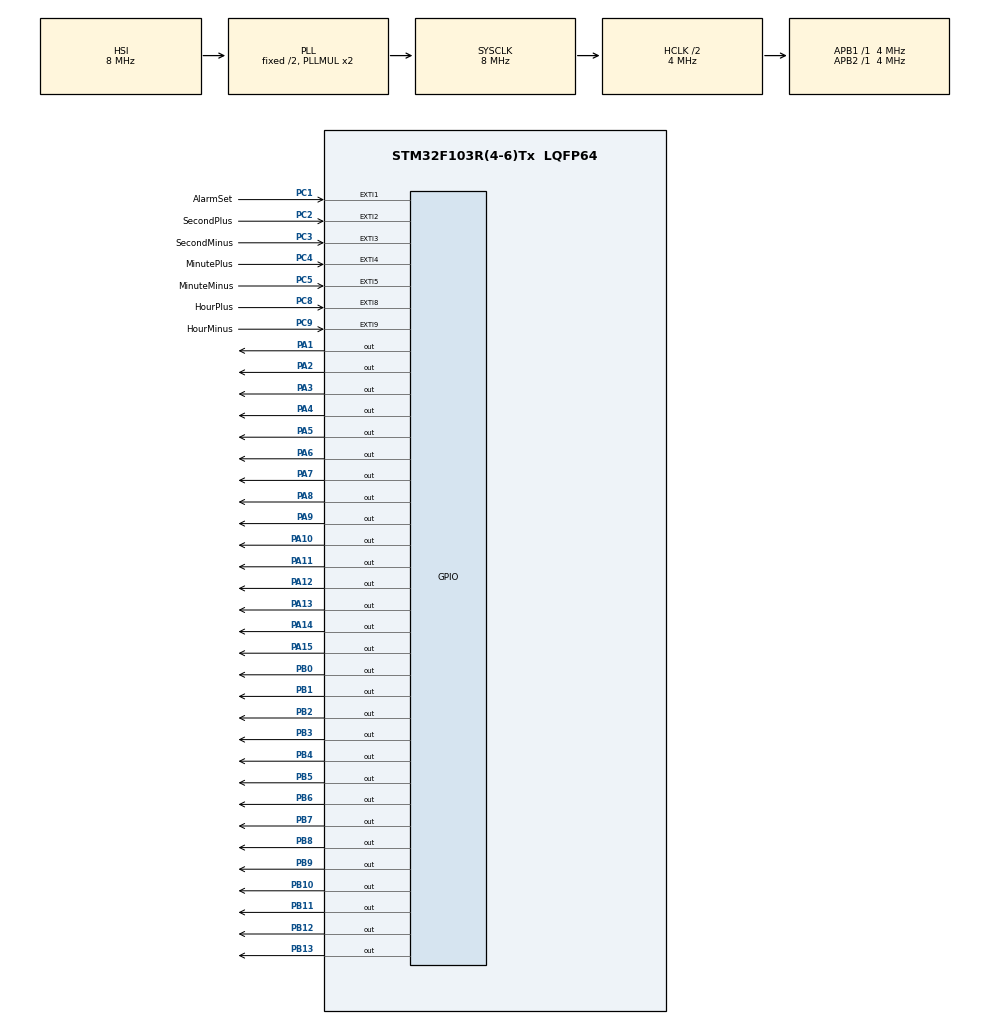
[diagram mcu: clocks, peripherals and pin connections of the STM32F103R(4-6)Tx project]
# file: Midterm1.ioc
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Mcu.Family=STM32F1
Mcu.Name=STM32F103R(4-6)Tx
Mcu.Package=LQFP64
NVIC.EXTI1_IRQn=true\:0\:0\:false\:true\:true\:10\:true\:true
NVIC.EXTI2_IRQn=true\:0\:0\:false\:true\:true\:5\:true\:true
NVIC.EXTI3_IRQn=true\:0\:0\:false\:true\:true\:6\:true\:true
NVIC.EXTI4_IRQn=true\:0\:0\:false\:true\:true\:7\:true\:true
NVIC.EXTI9_5_IRQn=true\:0\:0\:false\:true\:true\:8\:true\:true
NVIC.FLASH_IRQn=true\:0\:0\:false\:true\:true\:3\:true\:true
NVIC.PVD_IRQn=true\:0\:0\:false\:true\:true\:1\:true\:true
NVIC.PriorityGroup=NVIC_PRIORITYGROUP_4
NVIC.RCC_IRQn=true\:0\:0\:false\:true\:true\:4\:true\:false
NVIC.RTC_Alarm_IRQn=true\:0\:0\:false\:true\:true\:9\:true\:true
NVIC.RTC_IRQn=true\:0\:0\:false\:true\:true\:2\:true\:true
PA1.GPIO_ModeDefaultOutputPP=GPIO_MODE_OUTPUT_OD
PA1.Signal=GPIO_Output
PA10.GPIO_ModeDefaultOutputPP=GPIO_MODE_OUTPUT_OD
PA10.Signal=GPIO_Output
PA11.GPIO_ModeDefaultOutputPP=GPIO_MODE_OUTPUT_OD
PA11.Signal=GPIO_Output
PA12.GPIO_ModeDefaultOutputPP=GPIO_MODE_OUTPUT_OD
PA12.Signal=GPIO_Output
PA13.GPIO_ModeDefaultOutputPP=GPIO_MODE_OUTPUT_OD
PA13.Signal=GPIO_Output
PA14.GPIO_ModeDefaultOutputPP=GPIO_MODE_OUTPUT_OD
PA14.Signal=GPIO_Output
PA15.GPIO_ModeDefaultOutputPP=GPIO_MODE_OUTPUT_OD
PA15.Signal=GPIO_Output
PA2.GPIO_ModeDefaultOutputPP=GPIO_MODE_OUTPUT_OD
PA2.Signal=GPIO_Output
PA3.GPIO_ModeDefaultOutputPP=GPIO_MODE_OUTPUT_OD
PA3.Signal=GPIO_Output
PA4.GPIO_ModeDefaultOutputPP=GPIO_MODE_OUTPUT_OD
PA4.Signal=GPIO_Output
PA5.GPIO_ModeDefaultOutputPP=GPIO_MODE_OUTPUT_OD
PA5.Signal=GPIO_Output
PA6.GPIO_ModeDefaultOutputPP=GPIO_MODE_OUTPUT_OD
PA6.Signal=GPIO_Output
PA7.GPIO_ModeDefaultOutputPP=GPIO_MODE_OUTPUT_OD
PA7.Signal=GPIO_Output
PA8.GPIO_ModeDefaultOutputPP=GPIO_MODE_OUTPUT_OD
PA8.Signal=GPIO_Output
PA9.GPIO_ModeDefaultOutputPP=GPIO_MODE_OUTPUT_OD
PA9.Signal=GPIO_Output
PB0.GPIO_ModeDefaultOutputPP=GPIO_MODE_OUTPUT_OD
PB0.Signal=GPIO_Output
PB1.GPIO_ModeDefaultOutputPP=GPIO_MODE_OUTPUT_OD
PB1.Signal=GPIO_Output
PB10.Signal=GPIO_Output
PB11.Signal=GPIO_Output
PB12.Signal=GPIO_Output
PB13.Signal=GPIO_Output
PB2.GPIO_ModeDefaultOutputPP=GPIO_MODE_OUTPUT_OD
PB2.Signal=GPIO_Output
PB3.GPIO_ModeDefaultOutputPP=GPIO_MODE_OUTPUT_OD
PB3.Signal=GPIO_Output
PB4.GPIO_ModeDefaultOutputPP=GPIO_MODE_OUTPUT_OD
PB4.Signal=GPIO_Output
PB5.GPIO_ModeDefaultOutputPP=GPIO_MODE_OUTPUT_OD
PB5.Signal=GPIO_Output
PB6.GPIO_ModeDefaultOutputPP=GPIO_MODE_OUTPUT_OD
PB6.Signal=GPIO_Output
PB7.GPIO_ModeDefaultOutputPP=GPIO_MODE_OUTPUT_OD
PB7.Signal=GPIO_Output
PB8.GPIO_ModeDefaultOutputPP=GPIO_MODE_OUTPUT_OD
PB8.Signal=GPIO_Output
PB9.GPIO_ModeDefaultOutputPP=GPIO_MODE_OUTPUT_OD
PB9.Signal=GPIO_Output
PC1.GPIO_Label=AlarmSet
PC1.Signal=GPXTI1
PC2.GPIO_Label=SecondPlus
PC2.Signal=GPXTI2
PC3.GPIO_Label=SecondMinus
PC3.Signal=GPXTI3
PC4.GPIO_Label=MinutePlus
PC4.Signal=GPXTI4
PC5.GPIO_Label=MinuteMinus
PC5.Signal=GPXTI5
PC8.GPIO_Label=HourPlus
PC8.Signal=GPXTI8
PC9.GPIO_Label=HourMinus
PC9.Signal=GPXTI9
ProjectManager.HeapSize=0x200
ProjectManager.StackSize=0x400
ProjectManager.TargetToolchain=STM32CubeIDE
RCC.AHBCLKDivider=RCC_SYSCLK_DIV2
RCC.AHBFreq_Value=4000000
RCC.APB1Freq_Value=4000000
RCC.APB1TimFreq_Value=4000000
RCC.APB2Freq_Value=4000000
RCC.APB2TimFreq_Value=4000000
RCC.HCLKFreq_Value=4000000
RCC.SYSCLKFreq_VALUE=8000000
RCC.SYSCLKSource=RCC_SYSCLKSOURCE_PLLCLK
RCC.USBFreq_Value=8000000
RTC.Format=RTC_FORMAT_BIN
RTC.Hours=9
RTC.Minutes=15
RTC.Seconds=15
VP_RTC_No_RTC_Output.Mode=RTC_OUT_NO
VP_RTC_VS_RTC_Activate.Mode=RTC_Enabled
VP_SYS_VS_ND.Mode=No_Debug
board=custom

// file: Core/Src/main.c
/* USER CODE BEGIN Header */
/**
  ******************************************************************************
  * @file           : main.c
  * @brief          : Main program body
  ******************************************************************************
  * @attention
  *
  * <h2><center>&copy; Copyright (c) 2020 STMicroelectronics.
  * All rights reserved.</center></h2>
  *
  * This software component is licensed by ST under BSD 3-Clause license,
  * the "License"; You may not use this file except in compliance with the
  * License. You may obtain a copy of the License at:
  *                        opensource.org/licenses/BSD-3-Clause
  *
  ******************************************************************************
  */
/* USER CODE END Header */

#include "main.h"

RTC_HandleTypeDef hrtc;

/* USER CODE BEGIN PV */
uint8_t alarmflag = 0;
RTC_TimeTypeDef sTime = {0};
RTC_AlarmTypeDef sAlarm = {0};
/* USER CODE END PV */

void SystemClock_Config(void);
static void MX_GPIO_Init(void);
static void MX_RTC_Init(void);
static void MX_NVIC_Init(void);

int main(void)
{

  /* MCU Configuration--------------------------------------------------------*/

  /* Reset of all peripherals, Initializes the Flash interface and the Systick. */
  HAL_Init();

  /* Configure the system clock */
  SystemClock_Config();

  /* Initialize all configured peripherals */
  MX_GPIO_Init();
  MX_RTC_Init();

  /* Initialize interrupts */
  MX_NVIC_Init();

  /* Infinite loop */
  /* USER CODE BEGIN WHILE */

  sAlarm.AlarmTime.Hours = 9;
  sAlarm.AlarmTime.Minutes = 16;
  sAlarm.AlarmTime.Seconds = 20;
  sAlarm.Alarm = RTC_ALARM_A;
  while (1)
  {
    /* USER CODE END WHILE */

    /* USER CODE BEGIN 3 */
	  HAL_Delay(100);
	  RTC_TimeTypeDef tmpTime;
	  RTC_AlarmTypeDef tmpAlarm;
	  HAL_RTC_GetTime(&hrtc, &tmpTime, RTC_FORMAT_BIN);
	  HAL_RTC_GetAlarm(&hrtc, &tmpAlarm, RTC_ALARM_A, RTC_FORMAT_BIN);

	  if(alarmflag == 0) {
		  uint8_t secFirstDigit = tmpTime.Seconds%10;
		  uint8_t secSecondDigit = tmpTime.Seconds/10;

	  	  //uint8_t secFirstDigit = alarmflag?(tmpAlarm.AlarmTime.Seconds%10):(tmpTime.Seconds%10);
	  	  //uint8_t secSecondDigit = alarmflag?(tmpAlarm.AlarmTime.Seconds/10):(tmpTime.Seconds/10);
		  HAL_GPIO_WritePin(GPIOA, GPIO_PIN_1, secFirstDigit & 0x01);
			  HAL_GPIO_WritePin(GPIOA, GPIO_PIN_2, secFirstDigit & 0x02);
			  HAL_GPIO_WritePin(GPIOA, GPIO_PIN_3, secFirstDigit & 0x04);
			  HAL_GPIO_WritePin(GPIOA, GPIO_PIN_4, secFirstDigit & 0x08);

			  HAL_GPIO_WritePin(GPIOA, GPIO_PIN_5, secSecondDigit & 0x01);
			  HAL_GPIO_WritePin(GPIOA, GPIO_PIN_6, secSecondDigit & 0x02);
			  HAL_GPIO_WritePin(GPIOA, GPIO_PIN_7, secSecondDigit & 0x04);
			  HAL_GPIO_WritePin(GPIOA, GPIO_PIN_8, secSecondDigit & 0x08);

	  	  uint8_t minFirstDigit = tmpTime.Minutes%10;
	  	  uint8_t minSecondDigit = tmpTime.Minutes/10;

	  	  //uint8_t minFirstDigit = alarmflag?(tmpAlarm.AlarmTime.Minutes%10):(tmpTime.Minutes%10);
	  	  //uint8_t minSecondDigit = alarmflag?(tmpAlarm.AlarmTime.Minutes/10):(tmpTime.Minutes/10);

		  HAL_GPIO_WritePin(GPIOA, GPIO_PIN_9, minFirstDigit & 0x01);
		  HAL_GPIO_WritePin(GPIOA, GPIO_PIN_10, minFirstDigit & 0x02);
		  HAL_GPIO_WritePin(GPIOA, GPIO_PIN_11, minFirstDigit & 0x04);
		  HAL_GPIO_WritePin(GPIOA, GPIO_PIN_12, minFirstDigit & 0x08);

		  HAL_GPIO_WritePin(GPIOA, GPIO_PIN_13, minSecondDigit & 0x01);
		  HAL_GPIO_WritePin(GPIOA, GPIO_PIN_14, minSecondDigit & 0x02);
		  HAL_GPIO_WritePin(GPIOA, GPIO_PIN_15, minSecondDigit & 0x04);
		  HAL_GPIO_WritePin(GPIOB, GPIO_PIN_0, minSecondDigit & 0x08);

	  	  uint8_t hourFirstDigit = tmpTime.Hours%10;
	  	  uint8_t hourSecondDigit = tmpTime.Hours/10;

	  	  //uint8_t hourFirstDigit = alarmflag?(tmpAlarm.AlarmTime.Hours%10):(tmpTime.Hours%10);
	  	  //uint8_t hourSecondDigit = alarmflag?(tmpAlarm.AlarmTime.Hours/10):(tmpTime.Hours/10);
		  HAL_GPIO_WritePin(GPIOB, GPIO_PIN_1, hourFirstDigit & 0x01);
		  HAL_GPIO_WritePin(GPIOB, GPIO_PIN_2, hourFirstDigit & 0x02);
		  HAL_GPIO_WritePin(GPIOB, GPIO_PIN_3, hourFirstDigit & 0x04);
		  HAL_GPIO_WritePin(GPIOB, GPIO_PIN_4, hourFirstDigit & 0x08);

		  HAL_GPIO_WritePin(GPIOB, GPIO_PIN_5, hourSecondDigit & 0x01);
		  HAL_GPIO_WritePin(GPIOB, GPIO_PIN_6, hourSecondDigit & 0x02);
		  HAL_GPIO_WritePin(GPIOB, GPIO_PIN_7, hourSecondDigit & 0x04);
		  HAL_GPIO_WritePin(GPIOB, GPIO_PIN_8, hourSecondDigit & 0x08);
	  }
	  else if (alarmflag == 1) {
		  uint8_t secFirstDigit = tmpAlarm.AlarmTime.Seconds%10;
		  uint8_t secSecondDigit = tmpAlarm.AlarmTime.Seconds/10;

		  //uint8_t secFirstDigit = alarmflag?(tmpAlarm.sAlarm.AlarmTime.Seconds%10):(tmpTime.Seconds%10);
		  //uint8_t secSecondDigit = alarmflag?(tmpAlarm.AlarmTime.Seconds/10):(tmpTime.Seconds/10);

		  HAL_GPIO_WritePin(GPIOA, GPIO_PIN_1, secFirstDigit & 0x01);
		  HAL_GPIO_WritePin(GPIOA, GPIO_PIN_2, secFirstDigit & 0x02);
		  HAL_GPIO_WritePin(GPIOA, GPIO_PIN_3, secFirstDigit & 0x04);
		  HAL_GPIO_WritePin(GPIOA, GPIO_PIN_4, secFirstDigit & 0x08);

		  HAL_GPIO_WritePin(GPIOA, GPIO_PIN_5, secSecondDigit & 0x01);
		  HAL_GPIO_WritePin(GPIOA, GPIO_PIN_6, secSecondDigit & 0x02);
		  HAL_GPIO_WritePin(GPIOA, GPIO_PIN_7, secSecondDigit & 0x04);
		  HAL_GPIO_WritePin(GPIOA, GPIO_PIN_8, secSecondDigit & 0x08);

		  uint8_t minFirstDigit = tmpAlarm.AlarmTime.Minutes%10;
		  uint8_t minSecondDigit = tmpAlarm.AlarmTime.Minutes/10;

		  //uint8_t minFirstDigit = alarmflag?(tmpAlarm.AlarmTime.Minutes%10):(tmpTime.Minutes%10);
		  //uint8_t minSecondDigit = alarmflag?(tmpAlarm.AlarmTime.Minutes/10):(tmpTime.Minutes/10);

		  HAL_GPIO_WritePin(GPIOA, GPIO_PIN_9, minFirstDigit & 0x01);
			  HAL_GPIO_WritePin(GPIOA, GPIO_PIN_10, minFirstDigit & 0x02);
			  HAL_GPIO_WritePin(GPIOA, GPIO_PIN_11, minFirstDigit & 0x04);
			  HAL_GPIO_WritePin(GPIOA, GPIO_PIN_12, minFirstDigit & 0x08);

			  HAL_GPIO_WritePin(GPIOA, GPIO_PIN_13, minSecondDigit & 0x01);
			  HAL_GPIO_WritePin(GPIOA, GPIO_PIN_14, minSecondDigit & 0x02);
			  HAL_GPIO_WritePin(GPIOA, GPIO_PIN_15, minSecondDigit & 0x04);
			  HAL_GPIO_WritePin(GPIOB, GPIO_PIN_0, minSecondDigit & 0x08);
		  uint8_t hourFirstDigit = tmpAlarm.AlarmTime.Hours%10;
		  uint8_t hourSecondDigit = tmpAlarm.AlarmTime.Hours/10;

		  //uint8_t hourFirstDigit = alarmflag?(tmpAlarm.AlarmTime.Hours%10):(tmpTime.Hours%10);
		  //uint8_t hourSecondDigit = alarmflag?(tmpAlarm.AlarmTime.Hours/10):(tmpTime.Hours/10);

		  HAL_GPIO_WritePin(GPIOB, GPIO_PIN_1, hourFirstDigit & 0x01);
		  HAL_GPIO_WritePin(GPIOB, GPIO_PIN_2, hourFirstDigit & 0x02);
		  HAL_GPIO_WritePin(GPIOB, GPIO_PIN_3, hourFirstDigit & 0x04);
		  HAL_GPIO_WritePin(GPIOB, GPIO_PIN_4, hourFirstDigit & 0x08);

		  HAL_GPIO_WritePin(GPIOB, GPIO_PIN_5, hourSecondDigit & 0x01);
		  HAL_GPIO_WritePin(GPIOB, GPIO_PIN_6, hourSecondDigit & 0x02);
		  HAL_GPIO_WritePin(GPIOB, GPIO_PIN_7, hourSecondDigit & 0x04);
		  HAL_GPIO_WritePin(GPIOB, GPIO_PIN_8, hourSecondDigit & 0x08);
	  }

	 if (tmpAlarm.AlarmTime.Hours == tmpTime.Hours) {
		  if (tmpAlarm.AlarmTime.Minutes == tmpTime.Minutes) {
			  if(tmpAlarm.AlarmTime.Seconds == tmpTime.Seconds) {
				  HAL_GPIO_TogglePin(GPIOB, GPIO_PIN_10);
				  HAL_Delay(200);
				  HAL_GPIO_TogglePin(GPIOB, GPIO_PIN_11);
				  HAL_Delay(200);
				  HAL_GPIO_TogglePin(GPIOB, GPIO_PIN_12);
				  HAL_Delay(200);
				  HAL_GPIO_TogglePin(GPIOB, GPIO_PIN_13);
				  HAL_Delay(200);

			  }
		  }
	  }
  }
  /* USER CODE END 3 */
}

void SystemClock_Config(void)
{
  RCC_OscInitTypeDef RCC_OscInitStruct = {0};
  RCC_ClkInitTypeDef RCC_ClkInitStruct = {0};
  RCC_PeriphCLKInitTypeDef PeriphClkInit = {0};

  /** Initializes the CPU, AHB and APB busses clocks
  */
  RCC_OscInitStruct.OscillatorType = RCC_OSCILLATORTYPE_HSI|RCC_OSCILLATORTYPE_LSI;
  RCC_OscInitStruct.HSIState = RCC_HSI_ON;
  RCC_OscInitStruct.HSICalibrationValue = RCC_HSICALIBRATION_DEFAULT;
  RCC_OscInitStruct.LSIState = RCC_LSI_ON;
  RCC_OscInitStruct.PLL.PLLState = RCC_PLL_ON;
  RCC_OscInitStruct.PLL.PLLSource = RCC_PLLSOURCE_HSI_DIV2;
  RCC_OscInitStruct.PLL.PLLMUL = RCC_PLL_MUL2;
  if (HAL_RCC_OscConfig(&RCC_OscInitStruct) != HAL_OK)
  {
    Error_Handler();
  }
  /** Initializes the CPU, AHB and APB busses clocks
  */
  RCC_ClkInitStruct.ClockType = RCC_CLOCKTYPE_HCLK|RCC_CLOCKTYPE_SYSCLK
                              |RCC_CLOCKTYPE_PCLK1|RCC_CLOCKTYPE_PCLK2;
  RCC_ClkInitStruct.SYSCLKSource = RCC_SYSCLKSOURCE_PLLCLK;
  RCC_ClkInitStruct.AHBCLKDivider = RCC_SYSCLK_DIV2;
  RCC_ClkInitStruct.APB1CLKDivider = RCC_HCLK_DIV1;
  RCC_ClkInitStruct.APB2CLKDivider = RCC_HCLK_DIV1;

  if (HAL_RCC_ClockConfig(&RCC_ClkInitStruct, FLASH_LATENCY_0) != HAL_OK)
  {
    Error_Handler();
  }
  PeriphClkInit.PeriphClockSelection = RCC_PERIPHCLK_RTC;
  PeriphClkInit.RTCClockSelection = RCC_RTCCLKSOURCE_LSI;
  if (HAL_RCCEx_PeriphCLKConfig(&PeriphClkInit) != HAL_OK)
  {
    Error_Handler();
  }
}

/**
  * @brief NVIC Configuration.
  * @retval None
  */
static void MX_NVIC_Init(void)
{
  /* PVD_IRQn interrupt configuration */
  HAL_NVIC_SetPriority(PVD_IRQn, 0, 0);
  HAL_NVIC_EnableIRQ(PVD_IRQn);
  /* RTC_IRQn interrupt configuration */
  HAL_NVIC_SetPriority(RTC_IRQn, 0, 0);
  HAL_NVIC_EnableIRQ(RTC_IRQn);
  /* FLASH_IRQn interrupt configuration */
  HAL_NVIC_SetPriority(FLASH_IRQn, 0, 0);
  HAL_NVIC_EnableIRQ(FLASH_IRQn);
  /* RCC_IRQn interrupt configuration */
  HAL_NVIC_SetPriority(RCC_IRQn, 0, 0);
  HAL_NVIC_EnableIRQ(RCC_IRQn);
  /* EXTI2_IRQn interrupt configuration */
  HAL_NVIC_SetPriority(EXTI2_IRQn, 0, 0);
  HAL_NVIC_EnableIRQ(EXTI2_IRQn);
  /* EXTI3_IRQn interrupt configuration */
  HAL_NVIC_SetPriority(EXTI3_IRQn, 0, 0);
  HAL_NVIC_EnableIRQ(EXTI3_IRQn);
  /* EXTI4_IRQn interrupt configuration */
  HAL_NVIC_SetPriority(EXTI4_IRQn, 0, 0);
  HAL_NVIC_EnableIRQ(EXTI4_IRQn);
  /* EXTI9_5_IRQn interrupt configuration */
  HAL_NVIC_SetPriority(EXTI9_5_IRQn, 0, 0);
  HAL_NVIC_EnableIRQ(EXTI9_5_IRQn);
  /* RTC_Alarm_IRQn interrupt configuration */
  HAL_NVIC_SetPriority(RTC_Alarm_IRQn, 0, 0);
  HAL_NVIC_EnableIRQ(RTC_Alarm_IRQn);
  /* EXTI1_IRQn interrupt configuration */
  HAL_NVIC_SetPriority(EXTI1_IRQn, 0, 0);
  HAL_NVIC_EnableIRQ(EXTI1_IRQn);
}

static void MX_RTC_Init(void)
{

  RTC_TimeTypeDef sTime = {0};
  RTC_DateTypeDef DateToUpdate = {0};

  /** Initialize RTC Only
  */
  hrtc.Instance = RTC;
  hrtc.Init.AsynchPrediv = RTC_AUTO_1_SECOND;
  hrtc.Init.OutPut = RTC_OUTPUTSOURCE_NONE;
  if (HAL_RTC_Init(&hrtc) != HAL_OK)
  {
    Error_Handler();
  }

  /** Initialize RTC and set the Time and Date
  */
  sTime.Hours = 9;
  sTime.Minutes = 15;
  sTime.Seconds = 15;

  if (HAL_RTC_SetTime(&hrtc, &sTime, RTC_FORMAT_BIN) != HAL_OK)
  {
    Error_Handler();
  }
  DateToUpdate.WeekDay = RTC_WEEKDAY_MONDAY;
  DateToUpdate.Month = RTC_MONTH_JANUARY;
  DateToUpdate.Date = 1;
  DateToUpdate.Year = 0;

  if (HAL_RTC_SetDate(&hrtc, &DateToUpdate, RTC_FORMAT_BIN) != HAL_OK)
  {
    Error_Handler();
  }

}

static void MX_GPIO_Init(void)
{
  GPIO_InitTypeDef GPIO_InitStruct = {0};

  /* GPIO Ports Clock Enable */
  __HAL_RCC_GPIOC_CLK_ENABLE();
  __HAL_RCC_GPIOA_CLK_ENABLE();
  __HAL_RCC_GPIOB_CLK_ENABLE();

  /*Configure GPIO pin Output Level */
  HAL_GPIO_WritePin(GPIOA, GPIO_PIN_1|GPIO_PIN_2|GPIO_PIN_3|GPIO_PIN_4
                          |GPIO_PIN_5|GPIO_PIN_6|GPIO_PIN_7|GPIO_PIN_8
                          |GPIO_PIN_9|GPIO_PIN_10|GPIO_PIN_11|GPIO_PIN_12
                          |GPIO_PIN_13|GPIO_PIN_14|GPIO_PIN_15, GPIO_PIN_RESET);

  /*Configure GPIO pin Output Level */
  HAL_GPIO_WritePin(GPIOB, GPIO_PIN_0|GPIO_PIN_1|GPIO_PIN_2|GPIO_PIN_10
                          |GPIO_PIN_11|GPIO_PIN_12|GPIO_PIN_13|GPIO_PIN_3
                          |GPIO_PIN_4|GPIO_PIN_5|GPIO_PIN_6|GPIO_PIN_7
                          |GPIO_PIN_8|GPIO_PIN_9, GPIO_PIN_RESET);

  /*Configure GPIO pins : AlarmSet_Pin SecondPlus_Pin SecondMinus_Pin MinutePlus_Pin
                           MinuteMinus_Pin HourPlus_Pin HourMinus_Pin */
  GPIO_InitStruct.Pin = AlarmSet_Pin|SecondPlus_Pin|SecondMinus_Pin|MinutePlus_Pin
                          |MinuteMinus_Pin|HourPlus_Pin|HourMinus_Pin;
  GPIO_InitStruct.Mode = GPIO_MODE_IT_RISING;
  GPIO_InitStruct.Pull = GPIO_NOPULL;
  HAL_GPIO_Init(GPIOC, &GPIO_InitStruct);

  /*Configure GPIO pins : PA1 PA2 PA3 PA4
                           PA5 PA6 PA7 PA8
                           PA9 PA10 PA11 PA12
                           PA13 PA14 PA15 */
  GPIO_InitStruct.Pin = GPIO_PIN_1|GPIO_PIN_2|GPIO_PIN_3|GPIO_PIN_4
                          |GPIO_PIN_5|GPIO_PIN_6|GPIO_PIN_7|GPIO_PIN_8
                          |GPIO_PIN_9|GPIO_PIN_10|GPIO_PIN_11|GPIO_PIN_12
                          |GPIO_PIN_13|GPIO_PIN_14|GPIO_PIN_15;
  GPIO_InitStruct.Mode = GPIO_MODE_OUTPUT_OD;
  GPIO_InitStruct.Pull = GPIO_NOPULL;
  GPIO_InitStruct.Speed = GPIO_SPEED_FREQ_LOW;
  HAL_GPIO_Init(GPIOA, &GPIO_InitStruct);

  /*Configure GPIO pins : PB0 PB1 PB2 PB3
                           PB4 PB5 PB6 PB7
                           PB8 PB9 */
  GPIO_InitStruct.Pin = GPIO_PIN_0|GPIO_PIN_1|GPIO_PIN_2|GPIO_PIN_3
                          |GPIO_PIN_4|GPIO_PIN_5|GPIO_PIN_6|GPIO_PIN_7
                          |GPIO_PIN_8|GPIO_PIN_9;
  GPIO_InitStruct.Mode = GPIO_MODE_OUTPUT_OD;
  GPIO_InitStruct.Pull = GPIO_NOPULL;
  GPIO_InitStruct.Speed = GPIO_SPEED_FREQ_LOW;
  HAL_GPIO_Init(GPIOB, &GPIO_InitStruct);

  /*Configure GPIO pins : PB10 PB11 PB12 PB13 */
  GPIO_InitStruct.Pin = GPIO_PIN_10|GPIO_PIN_11|GPIO_PIN_12|GPIO_PIN_13;
  GPIO_InitStruct.Mode = GPIO_MODE_OUTPUT_PP;
  GPIO_InitStruct.Pull = GPIO_NOPULL;
  GPIO_InitStruct.Speed = GPIO_SPEED_FREQ_LOW;
  HAL_GPIO_Init(GPIOB, &GPIO_InitStruct);

}

/* USER CODE BEGIN 4 */

void HAL_GPIO_EXTI_Callback(uint16_t GPIO_Pin) {

	UNUSED(GPIO_Pin);
	switch(GPIO_Pin) {
		case AlarmSet_Pin: if (alarmflag) alarmflag = 0; else alarmflag = 1; break;
		case SecondPlus_Pin: if (alarmflag) sAlarm.AlarmTime.Seconds++; break;
		case MinutePlus_Pin: if (alarmflag) sAlarm.AlarmTime.Minutes++; break;
		case HourPlus_Pin: if (alarmflag) sAlarm.AlarmTime.Hours++; break;
		case SecondMinus_Pin: if (alarmflag) sAlarm.AlarmTime.Seconds--; break;
		case MinuteMinus_Pin: if (alarmflag) sAlarm.AlarmTime.Minutes--; break;
		case HourMinus_Pin: if (alarmflag) sAlarm.AlarmTime.Hours--; break;
	}
	if(alarmflag) HAL_RTC_SetAlarm(&hrtc, &sAlarm, RTC_FORMAT_BIN);

}
void HAL_RTC_AlarmEventCallBack(RTC_HandleTypeDef *hrtc) {
	UNUSED(hrtc);
	HAL_GPIO_TogglePin(GPIOB, GPIO_PIN_9);
}
/* USER CODE END 4 */

void Error_Handler(void)
{
}

/************************ (C) COPYRIGHT STMicroelectronics *****END OF FILE****/
